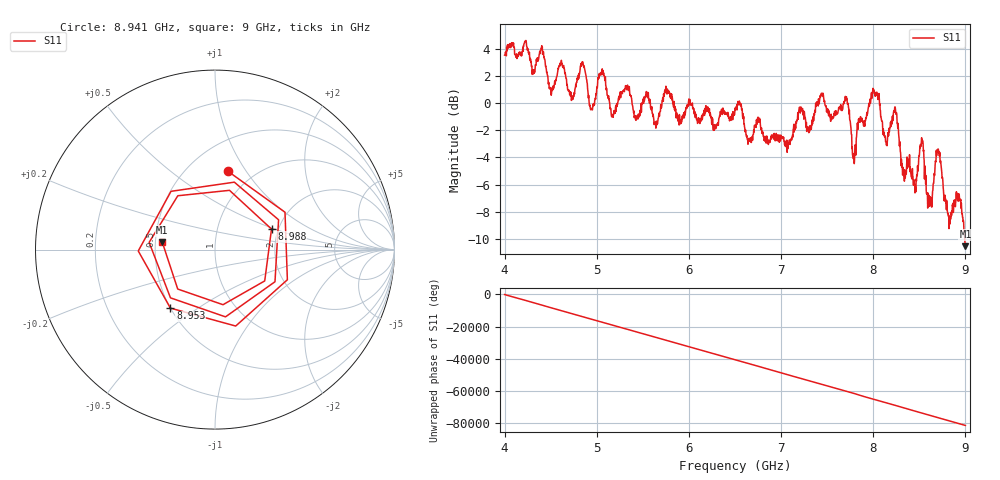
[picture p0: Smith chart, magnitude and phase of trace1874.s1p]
! Created with skrf 1.8.0 (http://scikit-rf.org).
# Hz S RI R 50.0
!freq ReS11 ImS11
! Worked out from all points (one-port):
!   1601 points, 4 GHz to 9 GHz, reference 50 ohm
!   lowest |S11| = -10.5 dB at 9 GHz (marker M1), VSWR 1.84, Z = 27.2 + j2.49 ohm
!   |S11| at or under -10 dB: 8.992931 GHz to end of sweep
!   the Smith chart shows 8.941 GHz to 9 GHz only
!   S11 on the Smith chart (normalised r, x): 8.941 GHz: 0.77, +0.83; 8.953 GHz: 0.50, -0.39; 8.988 GHz: 1.84, +0.47; 9 GHz: 0.54, +0.05
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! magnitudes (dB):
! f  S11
! 4 GHz  3.6
! 4.403 GHz  4.2
! 4.509 GHz  0.7
! 4.625 GHz  2.8
! 4.731 GHz  0.3
! 4.85 GHz  2.9
! 4.944 GHz  -0.4
! 5.053 GHz  2.2
! 5.169 GHz  -1.0
! 5.25 GHz  0.7
! 5.875 GHz  -0.9
! 6.5 GHz  -0.4
! 7.125 GHz  -2.3
! 7.441 GHz  0.7
! 7.75 GHz  -1.3
! 7.794 GHz  -4.5
! 8.022 GHz  0.5
! 8.244 GHz  -0.6
! 8.375 GHz  -4.3
! 8.453 GHz  -6.6
! 8.528 GHz  -2.8
! 8.616 GHz  -6.9
! 8.706 GHz  -3.4
! 8.819 GHz  -8.3
! 8.941 GHz  -7.1
! 8.953 GHz  -7.7
! 8.988 GHz  -9.5
! 9 GHz  -10.5
